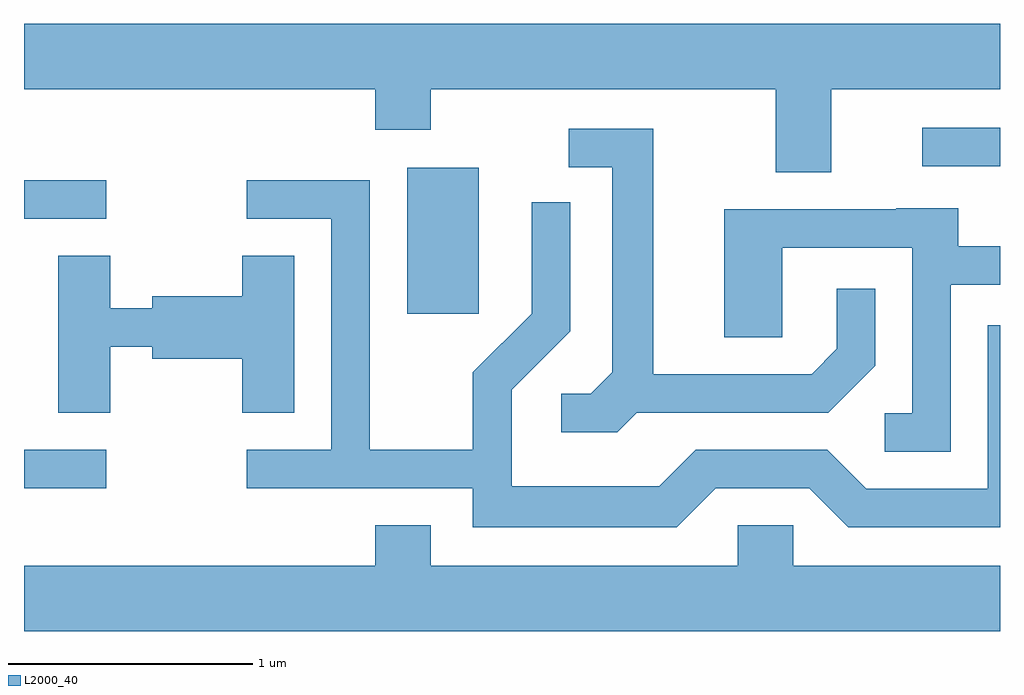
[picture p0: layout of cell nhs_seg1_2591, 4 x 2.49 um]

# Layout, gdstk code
import gdstk
lib = gdstk.Library(unit=1e-6, precision=1e-09)
def R(c, l, rs):  # rectangles x0, y0, x1, y1
    for r in rs: c.add(gdstk.rectangle(r[:2], r[2:], *l))
def P(c, l, *ps):  # polygons
    for p in ps: c.add(gdstk.Polygon(p, *l))
L2000_40 = (2000, 40)

nhs_seg1_2591 = lib.new_cell('nhs_seg1_2591')
R(nhs_seg1_2591, L2000_40, [(263.611,929.021,263.948,929.179), (265.181,929.736,265.474,930.334), (263.611,930.126,263.948,930.284), (267.293,930.341,267.611,930.499)])
P(nhs_seg1_2591, L2000_40, [(266.919,930.656),(267.611,930.656),(267.611,930.924),(263.611,930.924),(263.611,930.656),(265.051,930.656),(265.051,930.491),(265.279,930.491),(265.279,930.656),(266.691,930.656),(266.691,930.316),(266.919,930.316)],
  [(266.122,929.331),(266.907,929.331),(267.099,929.524),(267.099,929.838),(266.941,929.838),(266.941,929.592),(266.839,929.489),(266.189,929.489),(266.189,930.494),(265.843,930.494),(265.843,930.336),(266.021,930.336),(266.021,929.497),(265.934,929.409),(265.813,929.409),(265.813,929.251),(266.042,929.251)],
  [(266.447,929.021),(266.829,929.021),(266.989,928.861),(267.611,928.861),(267.611,929.689),(267.561,929.689),(267.561,929.019),(267.062,929.019),(266.902,929.179),(266.364,929.179),(266.214,929.029),(265.609,929.029),(265.609,929.424),(265.849,929.664),(265.849,930.193),(265.691,930.193),(265.691,929.737),(265.451,929.497),(265.451,929.179),(265.029,929.179),(265.029,930.284),(264.523,930.284),(264.523,930.126),(264.871,930.126),(264.871,929.179),(264.523,929.179),(264.523,929.021),(265.451,929.021),(265.451,928.861),(266.287,928.861)],
  [(267.409,929.856),(267.611,929.856),(267.611,930.014),(267.439,930.014),(267.439,930.169),(267.185,930.169),(267.185,930.164),(266.481,930.164),(266.481,929.641),(266.719,929.641),(266.719,930.006),(267.251,930.006),(267.251,929.329),(267.138,929.329),(267.138,929.171),(267.409,929.171)],
  [(263.964,929.601),(264.136,929.601),(264.136,929.551),(264.506,929.551),(264.506,929.331),(264.719,929.331),(264.719,929.974),(264.506,929.974),(264.506,929.809),(264.136,929.809),(264.136,929.759),(263.964,929.759),(263.964,929.974),(263.751,929.974),(263.751,929.331),(263.964,929.331)],
  [(267.611,928.704),(266.764,928.704),(266.764,928.869),(266.536,928.869),(266.536,928.704),(265.279,928.704),(265.279,928.869),(265.051,928.869),(265.051,928.704),(263.611,928.704),(263.611,928.436),(267.611,928.436)])

lib.write_gds('nhs_seg1_2591.gds')
